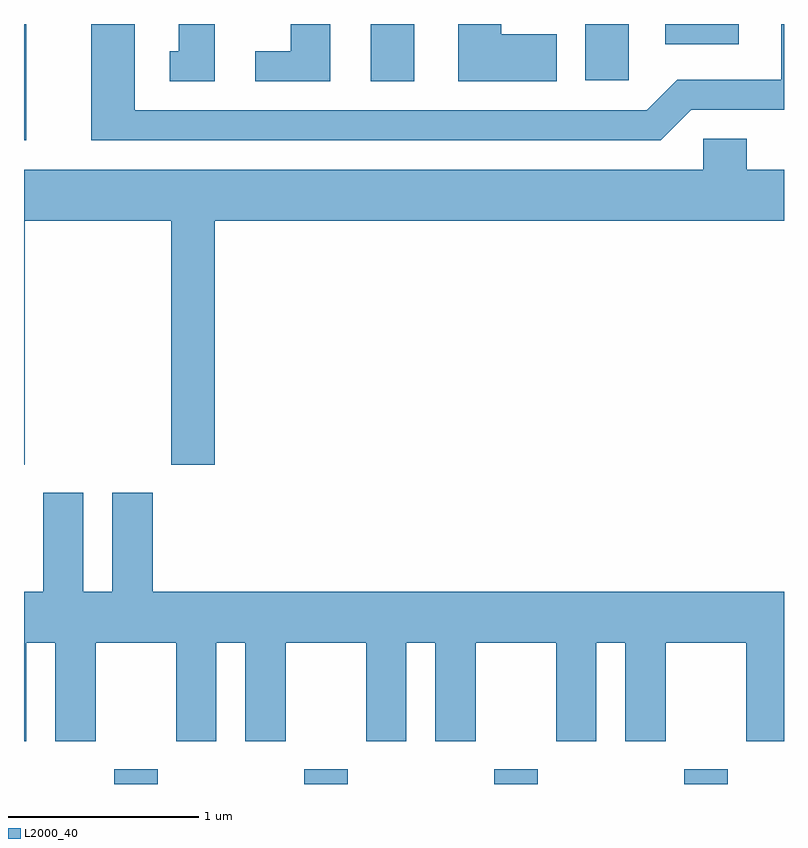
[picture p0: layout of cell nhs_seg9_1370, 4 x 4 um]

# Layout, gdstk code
import gdstk
lib = gdstk.Library(unit=1e-6, precision=1e-09)
def R(c, l, rs):  # rectangles x0, y0, x1, y1
    for r in rs: c.add(gdstk.rectangle(r[:2], r[2:], *l))
def A(c, l, x, y, w, h, nx, ny, dx, dy):  # array of equal rectangles
    R(c, l, [(x+i*dx, y+j*dy, x+i*dx+w, y+j*dy+h) for i in range(nx) for j in range(ny)])
def P(c, l, *ps):  # polygons
    for p in ps: c.add(gdstk.Polygon(p, *l))
L2000_40 = (2000, 40)

nhs_seg9_1370 = lib.new_cell('nhs_seg9_1370')
A(nhs_seg9_1370, L2000_40, 226.086, 1964.432, 0.228, 0.077, 4, 1, 1, 0)
R(nhs_seg9_1370, L2000_40, [(225.611,1967.821,225.624,1968.432), (227.436,1968.131,227.664,1968.432), (228.566,1968.136,228.794,1968.432), (228.986,1968.326,229.374,1968.432)])
P(nhs_seg9_1370, L2000_40, [(226.614,1968.432),(226.426,1968.432),(226.426,1968.289),(226.378,1968.289),(226.378,1968.131),(226.614,1968.131)],
  [(228.414,1968.379),(228.124,1968.379),(228.124,1968.432),(227.896,1968.432),(227.896,1968.131),(228.414,1968.131)],
  [(229.122,1967.981),(229.611,1967.981),(229.611,1968.432),(229.596,1968.432),(229.596,1968.139),(229.049,1968.139),(228.889,1967.979),(226.194,1967.979),(226.194,1968.432),(225.966,1968.432),(225.966,1967.821),(228.962,1967.821)],
  [(227.224,1968.432),(227.016,1968.432),(227.016,1968.289),(226.828,1968.289),(226.828,1968.131),(227.224,1968.131)],
  [(225.614,1967.396),(226.386,1967.396),(226.386,1966.111),(226.614,1966.111),(226.614,1967.396),(229.611,1967.396),(229.611,1967.664),(229.414,1967.664),(229.414,1967.829),(229.186,1967.829),(229.186,1967.664),(225.611,1967.664),(225.611,1966.111),(225.614,1966.111)],
  [(225.924,1965.964),(225.711,1965.964),(225.711,1965.444),(225.611,1965.444),(225.611,1964.656),(225.624,1964.656),(225.624,1965.176),(225.776,1965.176),(225.776,1964.656),(225.989,1964.656),(225.989,1965.176),(226.411,1965.176),(226.411,1964.656),(226.624,1964.656),(226.624,1965.176),(226.776,1965.176),(226.776,1964.656),(226.989,1964.656),(226.989,1965.176),(227.411,1965.176),(227.411,1964.656),(227.624,1964.656),(227.624,1965.176),(227.776,1965.176),(227.776,1964.656),(227.989,1964.656),(227.989,1965.176),(228.411,1965.176),(228.411,1964.656),(228.624,1964.656),(228.624,1965.176),(228.776,1965.176),(228.776,1964.656),(228.989,1964.656),(228.989,1965.176),(229.411,1965.176),(229.411,1964.656),(229.611,1964.656),(229.611,1965.444),(226.289,1965.444),(226.289,1965.964),(226.076,1965.964),(226.076,1965.444),(225.924,1965.444)])

lib.write_gds('nhs_seg9_1370.gds')
